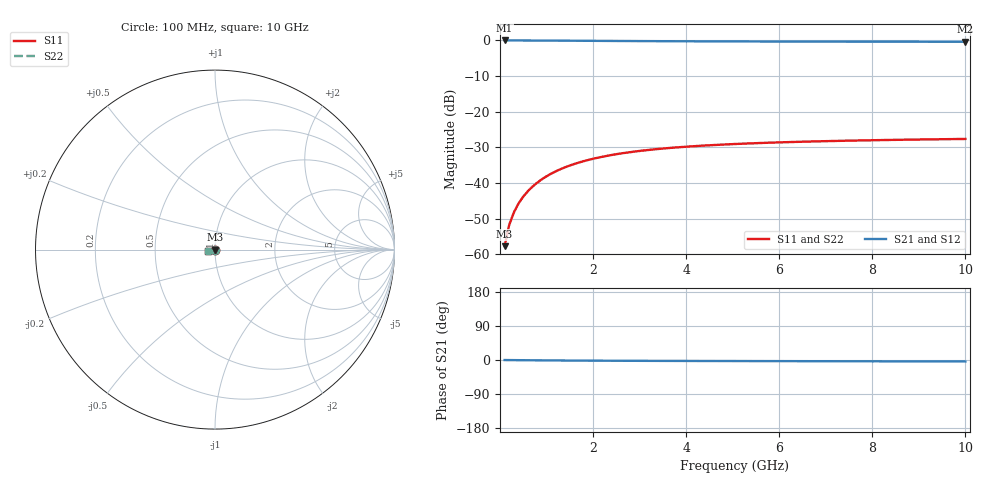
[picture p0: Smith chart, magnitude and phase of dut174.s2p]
! Touchstone file exported from HFSS 2024.1.0
!  File:  C:/UserFiles/LocalFiles/RDL_TSV_Batchsim/temp_TSV1_174_1779383567.aedt
!  Generated:  01:19:58 AM May 22, 2026
!  Design:  TSV1
!  Project:  temp_TSV1_174_1779383567
!  Setup:  Setup1
!  Solution:  Sweep
! Variables:
!  dtsv = 12.56um
!  hbump = 3um
!  htsv = 57.7um
!  lrdl = 252.1521522um
!  p = 40
!  p1 = 50.36um
!  t = 500um
!  trdl = 3um
!  wrdl = 24.89489489um
# GHz S MA R 50.000000
! Terminal data exported
! Port[1] = TSV22_T1
! Port[2] = TSV22_T2
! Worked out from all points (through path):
!   100 points, 100 MHz to 10 GHz, reference 50 ohm
!   highest |S21| = 0.00 dB at 100 MHz (marker M1); lowest = -0.4 dB at 10 GHz (marker M2)
!   lowest |S11| = -57.8 dB at 100 MHz (marker M3), VSWR 1.00, Z = 50 - j0.129 ohm
!   |S11| at or under -10 dB: start of sweep to end of sweep
!   |S22| runs from -57.8 to -27.7 dB; largest |S21 - S12| = 5.1e-15
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0.1  0.001295 -88.6  0.9999 -0.1  0.9999 -0.1  0.001295 -88.6
! Gamma 0 0 0 0
! Port Impedance 50 0 50 0
0.2  0.002587 -92.1  0.9997 -0.2  0.9997 -0.2  0.002587 -92.1
0.3  0.003875 -94.5  0.9995 -0.3  0.9995 -0.3  0.003875 -94.5
0.4  0.005154 -96.7  0.9992 -0.4  0.9992 -0.4  0.005154 -96.7
0.5  0.006419 -98.7  0.9988 -0.5  0.9988 -0.5  0.006419 -98.7
0.6  0.007663 -100.8  0.9983 -0.6  0.9983 -0.6  0.007663 -100.8
0.7  0.008885 -102.7  0.9978 -0.7  0.9978 -0.7  0.008885 -102.7
0.8  0.01008 -104.6  0.9972 -0.8  0.9972 -0.8  0.01008 -104.6
0.9  0.01125 -106.5  0.9965 -0.9  0.9965 -0.9  0.01125 -106.5
1.1  0.01348 -110.1  0.9951 -1.1  0.9951 -1.1  0.01348 -110.1
1.4  0.01659 -115.1  0.9927 -1.4  0.9927 -1.4  0.01659 -115.1
1.6  0.01847 -118.3  0.991 -1.5  0.991 -1.5  0.01847 -118.3
1.8  0.02022 -121.3  0.9893 -1.6  0.9893 -1.6  0.02022 -121.3
2.1  0.02259 -125.4  0.9867 -1.8  0.9867 -1.8  0.02259 -125.4
2.5  0.02531 -130.4  0.9834 -2.0  0.9834 -2.0  0.02531 -130.4
2.9  0.0276 -134.8  0.9804 -2.2  0.9804 -2.2  0.0276 -134.8
3.4  0.02997 -139.7  0.977 -2.3  0.977 -2.3  0.02997 -139.7
4.2  0.03289 -146.1  0.9725 -2.6  0.9725 -2.6  0.03289 -146.1
5.1  0.03529 -152.1  0.9686 -2.8  0.9686 -2.8  0.03529 -152.1
6.7  0.03818 -160.2  0.9637 -3.1  0.9637 -3.1  0.03818 -160.2
8.4  0.04015 -166.9  0.9603 -3.5  0.9603 -3.5  0.04015 -166.9
10  0.04144 -172.0  0.9581 -3.9  0.9581 -3.9  0.04144 -172.0
